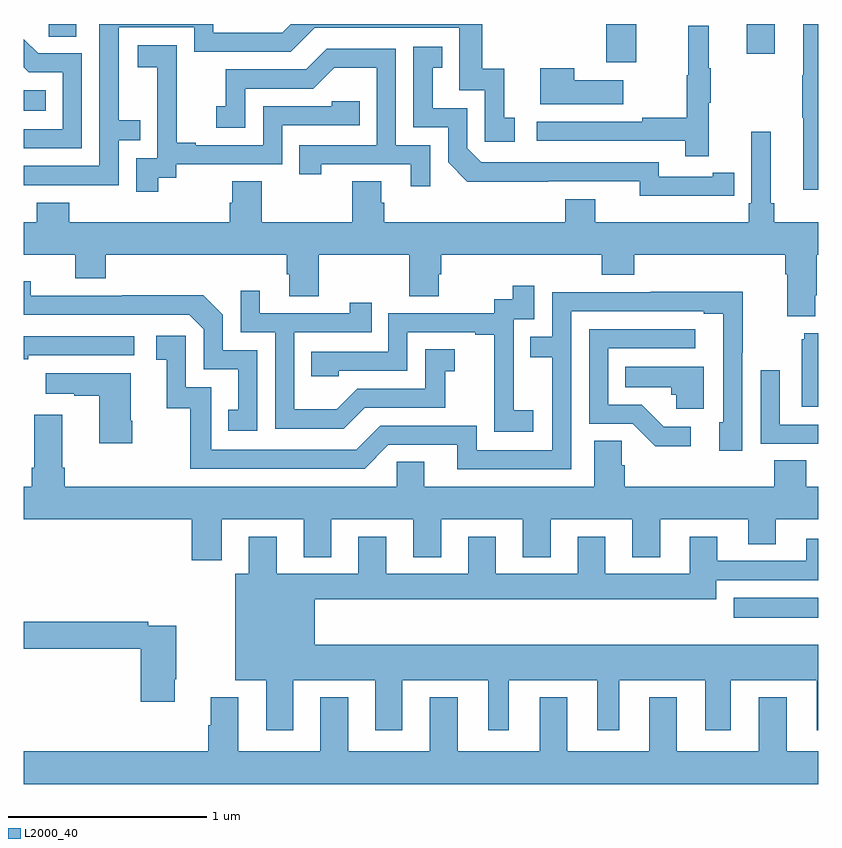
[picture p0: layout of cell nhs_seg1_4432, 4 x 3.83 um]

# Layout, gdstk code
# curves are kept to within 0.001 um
import gdstk
lib = gdstk.Library(unit=1e-6, precision=1e-09)
def R(c, l, rs):  # rectangles x0, y0, x1, y1
    for r in rs: c.add(gdstk.rectangle(r[:2], r[2:], *l))
def P(c, l, *ps):  # polygons
    for p in ps: c.add(gdstk.Polygon(p, *l))
L2000_40 = (2000, 40)

nhs_seg1_4432 = lib.new_cell('nhs_seg1_4432')
R(nhs_seg1_4432, L2000_40, [(354.576,579.209,355,579.31), (351,581.762,351.11,581.866), (353.933,582.006,354.085,582.199), (354.641,582.048,354.781,582.199), (351.126,582.136,351.265,582.199)])
P(nhs_seg1_4432, L2000_40, [(351.477,581.613),(351.587,581.613),(351.587,581.714),(351.477,581.714),(351.477,582.183),(351.858,582.183),(351.858,582.06),(352.344,582.06),(352.464,582.18),(353.193,582.18),(353.193,581.865),(353.322,581.865),(353.322,581.607),(353.473,581.607),(353.473,581.727),(353.42,581.727),(353.42,581.974),(353.309,581.974),(353.309,582.199),(352.345,582.199),(352.302,582.156),(351.955,582.156),(351.955,582.199),(351.381,582.199),(351.381,581.484),(351,581.484),(351,581.388),(351.477,581.388)],
  [(355,582.199),(354.926,582.199),(354.926,581.941),(354.919,581.941),(354.919,581.727),(354.926,581.727),(354.926,581.364),(355,581.364)],
  [(354.449,581.803),(354.46,581.803),(354.46,581.977),(354.449,581.977),(354.449,582.19),(354.346,582.19),(354.346,581.94),(354.339,581.94),(354.339,581.726),(354.115,581.726),(354.115,581.706),(353.583,581.706),(353.583,581.61),(354.331,581.61),(354.331,581.532),(354.449,581.532)],
  [(351.291,582.051),(351.072,582.051),(351,582.123),(351,581.981),(351.026,581.955),(351.195,581.955),(351.195,581.67),(351,581.67),(351,581.574),(351.291,581.574)],
  [(351.676,581.425),(351.768,581.425),(351.768,581.493),(352.302,581.493),(352.302,581.688),(352.691,581.688),(352.691,581.811),(352.551,581.811),(352.551,581.784),(352.206,581.784),(352.206,581.589),(351.865,581.589),(351.865,581.602),(351.77,581.602),(351.77,581.885),(351.771,581.885),(351.771,582.091),(351.573,582.091),(351.573,581.981),(351.671,581.981),(351.671,581.753),(351.672,581.753),(351.672,581.523),(351.567,581.523),(351.567,581.355),(351.676,581.355)],
  [(354.47,581.334),(354.578,581.334),(354.578,581.45),(354.47,581.45),(354.47,581.43),(354.198,581.43),(354.198,581.502),(353.304,581.502),(353.232,581.574),(353.232,581.775),(353.059,581.775),(353.059,581.979),(353.108,581.979),(353.108,582.085),(352.962,582.085),(352.962,581.679),(353.136,581.679),(353.136,581.502),(353.234,581.405),(354.102,581.406),(354.102,581.333)],
  [(353.046,581.589),(352.872,581.589),(352.872,582.075),(352.526,582.075),(352.421,581.97),(352.018,581.97),(352.018,581.785),(351.969,581.785),(351.969,581.676),(352.116,581.676),(352.116,581.874),(352.458,581.874),(352.562,581.978),(352.776,581.978),(352.776,581.589),(352.387,581.589),(352.387,581.442),(352.498,581.442),(352.498,581.493),(352.949,581.493),(352.949,581.382),(353.046,581.382)],
  [(354.019,581.917),(353.771,581.917),(353.771,581.977),(353.6,581.977),(353.6,581.795),(354.019,581.795)],
  [(354.779,581.296),(354.76,581.296),(354.76,581.656),(354.663,581.656),(354.663,581.296),(354.65,581.296),(354.65,581.2),(353.878,581.2),(353.878,581.317),(353.726,581.317),(353.726,581.2),(352.814,581.2),(352.814,581.298),(352.801,581.298),(352.801,581.408),(352.654,581.408),(352.654,581.2),(352.197,581.2),(352.197,581.408),(352.049,581.408),(352.049,581.298),(352.037,581.298),(352.037,581.2),(351.23,581.2),(351.23,581.299),(351.065,581.299),(351.065,581.2),(351,581.2),(351,581.036),(351.26,581.036),(351.26,580.919),(351.413,580.919),(351.413,581.036),(352.325,581.036),(352.325,580.938),(352.337,580.938),(352.337,580.828),(352.485,580.828),(352.485,581.036),(352.942,581.036),(352.942,580.828),(353.089,580.828),(353.089,580.938),(353.102,580.938),(353.102,581.036),(353.909,581.036),(353.909,580.937),(354.074,580.937),(354.074,581.036),(354.833,581.036),(354.833,580.94),(354.845,580.94),(354.845,580.727),(354.985,580.727),(354.985,580.834),(354.993,580.834),(354.993,581.036),(355,581.036),(355,581.2),(354.779,581.2)],
  [(352.176,580.557),(352.002,580.557),(352.002,580.734),(351.904,580.832),(351.496,580.832),(351.496,580.83),(351.036,580.83),(351.036,580.903),(351,580.903),(351,580.734),(351.834,580.734),(351.906,580.662),(351.906,580.461),(352.079,580.461),(352.079,580.257),(352.03,580.257),(352.03,580.152),(352.176,580.152)],
  [(353.566,580.255),(353.468,580.255),(353.468,580.484),(353.466,580.484),(353.466,580.713),(353.571,580.713),(353.571,580.882),(353.463,580.882),(353.463,580.812),(353.37,580.812),(353.37,580.743),(352.836,580.743),(352.836,580.548),(352.447,580.548),(352.447,580.425),(352.587,580.425),(352.587,580.452),(352.932,580.452),(352.932,580.647),(353.273,580.647),(353.273,580.635),(353.369,580.635),(353.369,580.351),(353.368,580.351),(353.368,580.145),(353.566,580.145)],
  [(352.717,580.266),(353.121,580.266),(353.121,580.451),(353.17,580.451),(353.17,580.561),(353.022,580.561),(353.022,580.362),(352.68,580.362),(352.576,580.258),(352.362,580.258),(352.362,580.647),(352.751,580.647),(352.751,580.795),(352.64,580.795),(352.64,580.743),(352.189,580.743),(352.189,580.855),(352.092,580.855),(352.092,580.647),(352.266,580.647),(352.266,580.161),(352.612,580.161)],
  [(353.757,580.752),(354.425,580.752),(354.425,580.74),(354.521,580.74),(354.522,580.194),(354.503,580.194),(354.503,580.05),(354.618,580.05),(354.618,580.543),(354.621,580.543),(354.621,580.85),(354.157,580.85),(354.157,580.848),(353.661,580.848),(353.661,580.623),(353.551,580.623),(353.551,580.522),(353.661,580.522),(353.661,580.053),(353.28,580.053),(353.28,580.176),(352.794,580.176),(352.674,580.056),(351.945,580.056),(351.945,580.371),(351.816,580.371),(351.816,580.63),(351.666,580.63),(351.666,580.509),(351.719,580.509),(351.719,580.263),(351.837,580.263),(351.837,579.96),(352.716,579.96),(352.836,580.08),(353.183,580.08),(353.183,579.957),(353.757,579.957)],
  [(354.358,580.17),(354.223,580.17),(354.112,580.281),(353.943,580.281),(353.943,580.566),(354.382,580.566),(354.382,580.662),(353.847,580.662),(353.847,580.185),(354.066,580.185),(354.179,580.073),(354.358,580.073)],
  [(355,580.642),(354.929,580.642),(354.929,580.611),(354.917,580.611),(354.917,580.271),(355,580.271)],
  [(351.023,580.53),(351.556,580.53),(351.556,580.626),(351,580.626),(351,580.51),(351.023,580.51)],
  [(354.424,580.474),(354.028,580.474),(354.028,580.37),(354.259,580.37),(354.259,580.332),(354.285,580.332),(354.285,580.262),(354.424,580.262)],
  [(355,580.182),(354.807,580.182),(354.807,580.456),(354.711,580.456),(354.711,580.086),(355,580.086)],
  [(351.546,580.201),(351.538,580.201),(351.538,580.441),(351.111,580.441),(351.111,580.337),(351.254,580.337),(351.254,580.327),(351.38,580.327),(351.38,580.089),(351.546,580.089)],
  [(351.997,579.704),(352.409,579.704),(352.409,579.515),(352.549,579.515),(352.549,579.704),(352.961,579.704),(352.961,579.515),(353.101,579.515),(353.101,579.704),(353.513,579.704),(353.513,579.515),(353.653,579.515),(353.653,579.704),(354.065,579.704),(354.065,579.515),(354.205,579.515),(354.205,579.704),(354.647,579.704),(354.647,579.58),(354.787,579.58),(354.787,579.704),(355,579.704),(355,579.868),(354.939,579.868),(354.939,580.001),(354.779,580.001),(354.779,579.868),(354.026,579.868),(354.026,579.977),(354.012,579.977),(354.012,580.1),(353.873,580.1),(353.873,579.868),(353.017,579.868),(353.017,579.995),(352.878,579.995),(352.878,579.868),(351.206,579.868),(351.206,579.964),(351.193,579.964),(351.193,580.231),(351.053,580.231),(351.053,579.964),(351.041,579.964),(351.041,579.868),(351,579.868),(351,579.704),(351.845,579.704),(351.845,579.498),(351.997,579.498)],
  [(352.357,578.894),(352.769,578.894),(352.769,578.643),(352.906,578.643),(352.906,578.894),(353.339,578.894),(353.339,578.643),(353.443,578.643),(353.443,578.894),(353.888,578.894),(353.888,578.643),(353.998,578.643),(353.998,578.894),(354.431,578.894),(354.431,578.643),(354.559,578.643),(354.559,578.894),(354.992,578.894),(354.992,578.643),(355,578.643),(355,579.073),(352.465,579.073),(352.465,579.302),(354.487,579.302),(354.487,579.399),(355,579.399),(355,579.607),(354.941,579.607),(354.941,579.495),(354.493,579.495),(354.493,579.616),(354.353,579.616),(354.353,579.43),(353.929,579.43),(353.929,579.616),(353.789,579.616),(353.789,579.43),(353.377,579.43),(353.377,579.616),(353.237,579.616),(353.237,579.43),(352.825,579.43),(352.825,579.616),(352.685,579.616),(352.685,579.43),(352.273,579.43),(352.273,579.616),(352.133,579.616),(352.133,579.43),(352.064,579.43),(352.064,578.894),(352.22,578.894),(352.22,578.643),(352.357,578.643)],
  [(351.76,578.899),(351.768,578.899),(351.768,579.168),(351.626,579.168),(351.626,579.188),(351,579.188),(351,579.052),(351.59,579.052),(351.59,578.787),(351.76,578.787)],
  [(355,578.536),(354.841,578.536),(354.841,578.809),(354.701,578.809),(354.701,578.536),(354.289,578.536),(354.289,578.809),(354.149,578.809),(354.149,578.536),(353.737,578.536),(353.737,578.809),(353.597,578.809),(353.597,578.536),(353.185,578.536),(353.185,578.809),(353.045,578.809),(353.045,578.536),(352.633,578.536),(352.633,578.809),(352.493,578.809),(352.493,578.536),(352.081,578.536),(352.081,578.809),(351.941,578.809),(351.941,578.667),(351.929,578.667),(351.929,578.536),(351,578.536),(351,578.372),(355,578.372)])

lib.write_gds('nhs_seg1_4432.gds')
